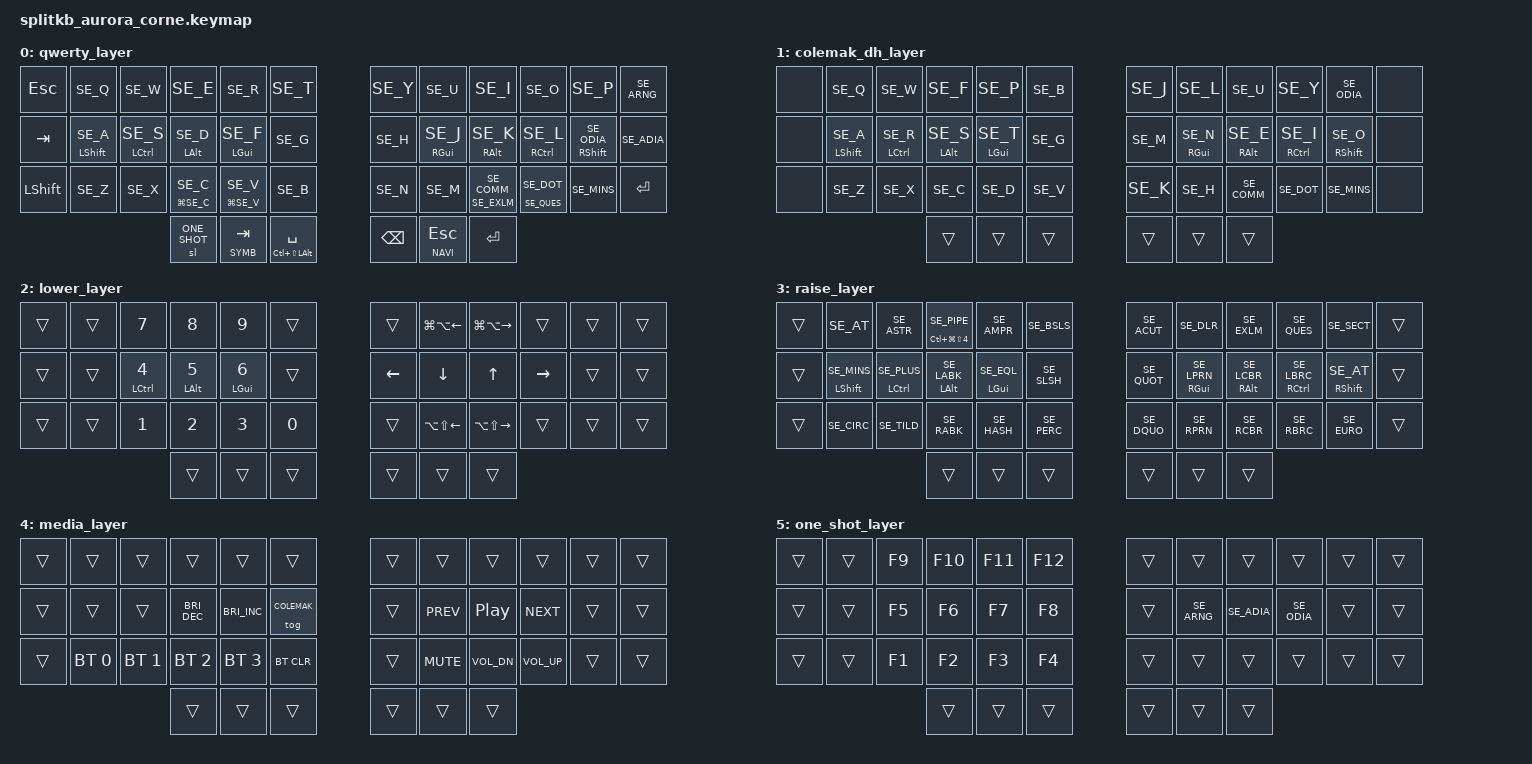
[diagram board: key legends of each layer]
/*
 * Copyright (c) 2020 The ZMK Contributors
 *
 * SPDX-License-Identifier: MIT
 */

#include <behaviors.dtsi>
#include <dt-bindings/zmk/keys.h>
#include <dt-bindings/zmk/bt.h>
#include "keys_se.h"

#define QWERTY    0
#define COLEMAK   1
#define NAVI      2
#define SYMB      3
#define MEDIA     4
#define ONE_SHOT  5


// key positions (42-key corne)
#define LEFT_HAND 0 1 2 3 4 5 12 13 14 15 16 17 24 25 26 27 28 29
#define RIGHT_HAND 6 7 8 9 10 11 18 19 20 21 22 23 30 31 32 33 34 35
#define THUMBS 36 37 38 39 40 41

// https://github.com/urob/zmk-config#timeless-homerow-mods
#define HM(OTHER_HAND) \
{ \
    compatible = "zmk,behavior-hold-tap"; \
    #binding-cells = <2>; \
    flavor = "balanced"; \
    tapping-term-ms = <280>; \
    quick-tap-ms = <175>; \
    require-prior-idle-ms = <150>; \
    bindings = <&kp>, <&kp>; \
    hold-trigger-key-positions = <OTHER_HAND THUMBS>; \
    hold-trigger-on-release; \
}

&mt {
    flavor = "tap-preferred";
    tapping-term-ms = <200>;
};

/ {
  combos {
    compatible = "zmk,combos";
    combo_layer_three {
      timeout-ms = <50>;
      key-positions = <37 40>;
      bindings = <&mo MEDIA>;
    };
  };
  behaviors {
    lhm: left_homerow_mods HM(RIGHT_HAND);
    rhm: right_homerow_mods HM(LEFT_HAND);
    td: tapdance {
      compatible = "zmk,behavior-hold-tap";
      #binding-cells = <2>;
      tapping-term-ms = <150>;
      flavor = "tap-preferred";
      bindings = <&kp>, <&kp>;
    };
    los: layer_one_shot {
      compatible = "zmk,behavior-hold-tap";
      #binding-cells = <2>;
      tapping-term-ms = <200>;
      flavor = "tap-preferred";
      bindings = <&mo>, <&sl>;
    };
    lt: layer_tap {
      compatible = "zmk,behavior-hold-tap";
      #binding-cells = <2>;
      tapping-term-ms = <200>;
      flavor = "tap-preferred";
      bindings = <&mo>, <&kp>;
    };
  };
  keymap {
    compatible = "zmk,keymap";

    qwerty_layer {
// -----------------------------------------------------------------------------------------
// | ESC  |  Q  |  W  |  E   |  R  |  T  |   |  Y   |  U   |  I  |  O  |  P  |  Å   |
// | TAB  |  A  |  S  |  D   |  F  |  G  |   |  H   |  J   |  K  |  L  |  Ö  |  Ä   |
// | SHFT |  Z  |  X  |  C   |  V  |  B  |   |  N   |  M   |  ,  |  .  |  -  | RET  |
//                    | SHFT | LWR | SPC |   | BKSP | RSE  | CTRL|
    bindings = <
      &kp ESC   &kp SE_Q       &kp SE_W       &kp SE_E          &kp SE_R          &kp SE_T                &kp SE_Y &kp SE_U      &kp SE_I            &kp SE_O           &kp SE_P          &kp SE_ARNG
      &kp TAB   &lhm LSHFT SE_A &lhm LCTRL SE_S &lhm LALT SE_D     &lhm LGUI SE_F     &kp SE_G                &kp SE_H &rhm RGUI SE_J &rhm RALT SE_K       &rhm RCTRL SE_L     &rhm RSHFT SE_ODIA &kp SE_ADIA
      &kp LSHFT &kp SE_Z       &kp SE_X       &td LG(SE_C) SE_C &td LG(SE_V) SE_V &kp SE_B                &kp SE_N &kp SE_M      &td SE_EXLM SE_COMM &td SE_QUES SE_DOT &kp SE_MINS       &kp RET
                                              &sl ONE_SHOT      &lt SYMB TAB      &mt LC(LS(LALT)) SPACE  &kp BSPC &lt NAVI ESC  &kp RET
    >;
    };
    colemak_dh_layer {
// -----------------------------------------------------------------------------------------
// |  |  Q  |  W  |  F   |  P  |  B  |   |  J   |  L   |  U  |  Y  |  Ö  |  |
// |  |  A  |  R  |  S   |  T  |  G  |   |  M   |  N   |  E  |  I  |  O  |  |
// |  |  Z  |  X  |  C   |  D  |  V  |   |  K   |  H   |  ,  |  .  |  -  |  |
//                | SHFT | LWR | SPC |   | BKSP | RSE  | CTRL|
    bindings = <
      &none &kp SE_Q       &kp SE_W       &kp SE_F       &kp SE_P      &kp SE_B                 &kp SE_J &kp SE_L      &kp SE_U      &kp SE_Y       &kp SE_ODIA    &none
      &none &lhm LSHFT SE_A &lhm LCTRL SE_R &lhm LALT SE_S  &lhm LGUI SE_T &kp SE_G                 &kp SE_M &rhm RGUI SE_N &rhm RALT SE_E &rhm RCTRL SE_I &rhm RSHFT SE_O &none
      &none &kp SE_Z       &kp SE_X       &kp SE_C       &kp SE_D      &kp SE_V                 &kp SE_K &kp SE_H      &kp SE_COMM   &kp SE_DOT     &kp SE_MINS    &none
                                          &trans        &trans         &trans                   &trans   &trans        &trans
    >;
    };
    lower_layer {
// -----------------------------------------------------------------------------------------
// |      |     |  7  |  8  |  9  |     |   |     |     |     |     |     |   |
// |      |     |  4  |  5  |  6  |     |   | LFT | DWN |  UP | RGT |     |   |
// |      |     |  1  |  2  |  3  |  0  |   |     |     |     |     |     |   |
//                    |     |     |     |   |     |     |     |
    bindings = <
      &trans &trans &kp N7       &kp N8        &kp N9      &trans      &trans   &kp LG(LA(LEFT)) &kp LG(LA(RIGHT)) &trans    &trans &trans
      &trans &trans &lhm LCTRL N4 &lhm LALT N5   &lhm LGUI N6 &trans      &kp LEFT &kp DOWN         &kp UP            &kp RIGHT &trans &trans
      &trans &trans &kp N1       &kp N2        &kp N3      &kp N0      &trans   &kp LA(LS(LEFT)) &kp LA(LS(RIGHT)) &trans    &trans &trans
                                 &trans        &trans      &trans      &trans   &trans           &trans
    >;
    };
    raise_layer {
// -----------------------------------------------------------------------------------------
// |   |  @  |  *  | "|" |  &  |  \  |   |  `  |  $  |  !  |  ?  |  §  |   |
// |   |  -  |  +  |  <  |  =  |  /  |   |  '  |  (  |  {  |  [  |  @  |   |
// |   |  ^  |  ~  |  >  |  #  |  %  |   |  "  |  )  |  }  |  ]  |  €  |   |
//                    |     |     |     |   |     |     |     |
    bindings = <
      &trans &kp SE_AT         &kp SE_ASTR       &td LC(LG(LS(N4))) SE_PIPE &kp SE_AMPR     &kp SE_BSLS    &kp SE_ACUT &kp SE_DLR       &kp SE_EXLM      &kp SE_QUES       &kp SE_SECT     &trans
      &trans &lhm LSHFT SE_MINS &lhm LCTRL SE_PLUS &lhm LALT SE_LABK           &lhm LGUI SE_EQL &kp SE_SLSH    &kp SE_QUOT &rhm RGUI SE_LPRN &rhm RALT SE_LCBR &rhm RCTRL SE_LBRC &rhm RSHFT SE_AT &trans
      &trans &kp SE_CIRC       &kp SE_TILD       &kp SE_RABK                &kp SE_HASH     &kp SE_PERC    &kp SE_DQUO &kp SE_RPRN      &kp SE_RCBR      &kp SE_RBRC       &kp SE_EURO     &trans
                                                 &trans                     &trans          &trans         &trans      &trans           &trans
    >;
    };
    media_layer {
// -----------------------------------------------------------------------------------------
// |  |     |     |     |     |      |   |     |     |     |     |     |   |
// |  |     |     |     |     |      |   |     |     |     |     |     |   |
// |  | BT1 | BT2 | BT3 | BT4 | BTCLR|   |     |     |     |     |     |   |
//                      |     |      |   |     |     |     |     |
    bindings = <
      &trans &trans       &trans       &trans        &trans        &trans         &trans &trans     &trans       &trans       &trans &trans
      &trans &trans       &trans       &kp C_BRI_DEC &kp C_BRI_INC &tog COLEMAK   &trans &kp C_PREV &kp C_PP     &kp C_NEXT   &trans &trans
      &trans &bt BT_SEL 0 &bt BT_SEL 1 &bt BT_SEL 2  &bt BT_SEL 3  &bt BT_CLR     &trans &kp C_MUTE &kp C_VOL_DN &kp C_VOL_UP &trans &trans
                                       &trans        &trans        &trans         &trans &trans     &trans
    >;
    };
    one_shot_layer {
// -----------------------------------------------------------------------------------------
// |   |   | F9 | F10 | F11 | F12 |      |   |   |   |   |   |   |
// |   |   | F5 | F6  | F7  | F8  |      |   | å | ä | ö |   |   |
// |   |   | F1 | F2  | F3  | F4  |      |   |   |   |   |   |   |
//              |     |     |     |      |   |   |   |
    bindings = <
      &trans &trans &kp F9 &kp F10 &kp F11 &kp F12   &trans &trans      &trans      &trans      &trans &trans
      &trans &trans &kp F5 &kp F6  &kp F7  &kp F8    &trans &kp SE_ARNG &kp SE_ADIA &kp SE_ODIA &trans &trans
      &trans &trans &kp F1 &kp F2  &kp F3  &kp F4    &trans &trans      &trans      &trans      &trans &trans
                           &trans  &trans  &trans    &trans &trans      &trans
    >;
    };
  };
};
